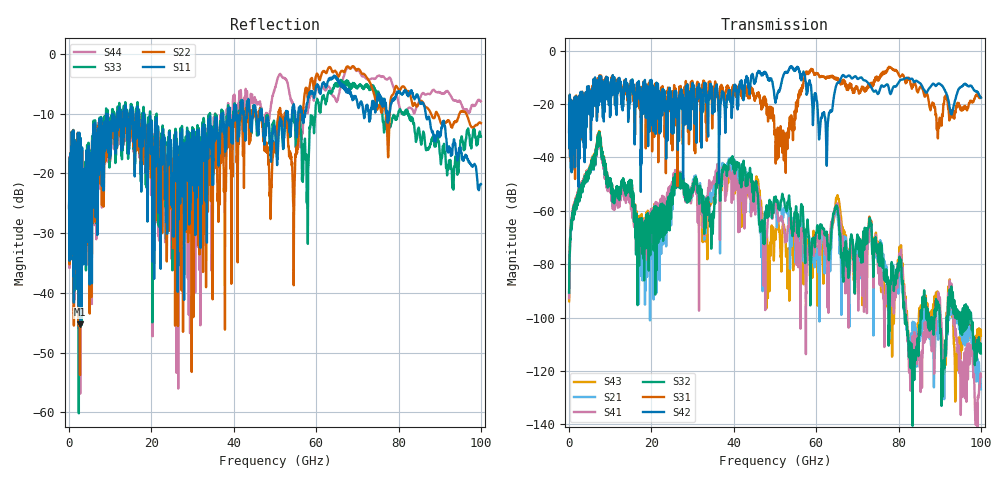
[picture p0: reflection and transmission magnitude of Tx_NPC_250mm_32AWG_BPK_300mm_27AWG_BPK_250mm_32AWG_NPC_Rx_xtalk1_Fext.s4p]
! Info: Touchstone file created by Circ.  Input file=Tx_NPC_250mm_32AWG_BPK_300mm_27AWG_BPK_250mm_32AWG_NPC_Rx.circ
# Hz S RI R 50
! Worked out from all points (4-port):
!   10000 points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, 10 MHz to 100 GHz, reference 50 ohm
!   strongest paths, dB at 10 MHz, 25.01 GHz, 50.01 GHz, 75.01 GHz, 100 GHz:
!     S42: -30.6, -19.4, -18.5, -16.3, -17.6
!     S31: -30.5, -21.7, -30.3, -10.2, -17.5
!     S32: -90.6, -51.1, -55.8, -78.3, -113.4
!     S41: -92.7, -49.2, -57.2, -80.4, -122.2
!     S21: -90.9, -51.2, -56.7, -79.8, -126.9
!     S43: -93.9, -49.7, -70.2, -79.7, -106.7
!   lowest |S11| = -45.2 dB at 2.72 GHz (marker M1), VSWR 1.01, Z = 49.5 - j0.081 ohm
!   |S11| at or under -10 dB: start of sweep to 11.79 GHz; 18.1 GHz to 37.04 GHz (18.94 GHz wide, 68.7 % of centre); 86.59 GHz to end of sweep (the widest 3 of 45)
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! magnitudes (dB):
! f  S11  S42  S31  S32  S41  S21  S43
! 10 MHz  -25.8  -30.6  -30.5  -90.6  -92.7  -90.9  -93.9
! 2.72 GHz  -45.2  -26.5  -25.9  -51.2  -50.4  -51.0  -50.5
! 7.26 GHz  -19.5  -17.4  -16.7  -30.6  -31.1  -31.4  -30.4
! 18.11 GHz  -10.2  -13.4  -13.3  -76.4  -74.1  -76.8  -74.4
! 39.29 GHz  -11.5  -17.8  -17.2  -40.2  -46.0  -42.1  -44.0
! 48.32 GHz  -10.7  -11.0  -26.6  -58.3  -61.9  -59.3  -76.9
! 100 GHz  -21.8  -17.6  -17.5  -113.4  -122.2  -126.9  -106.7
